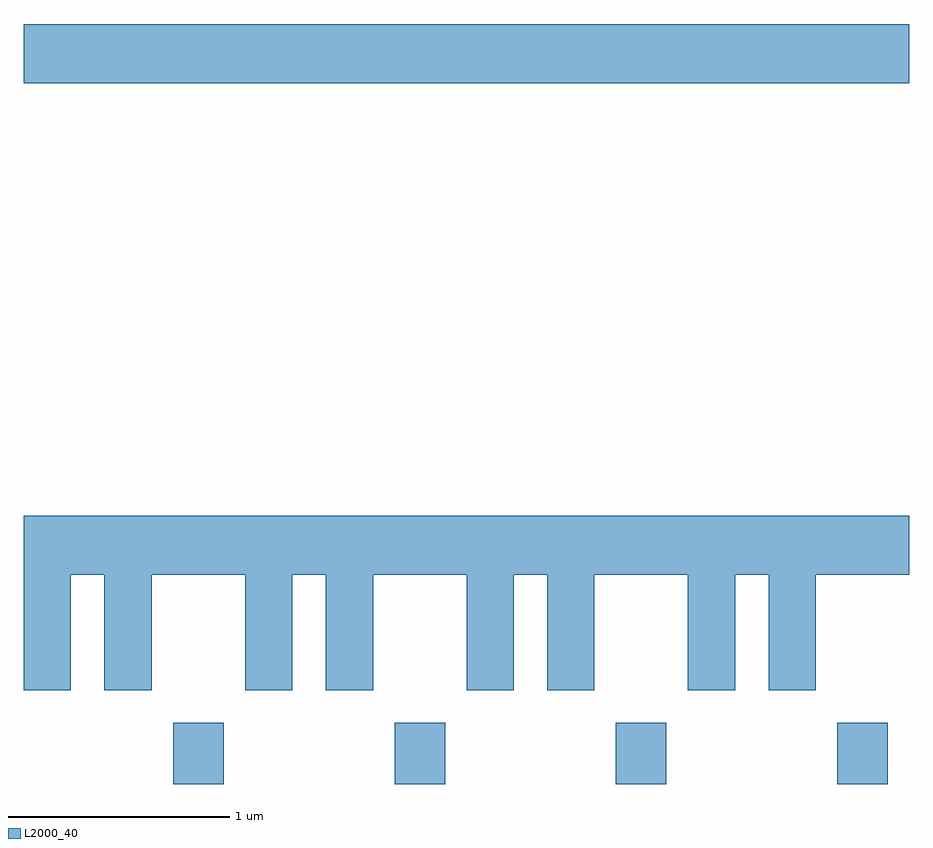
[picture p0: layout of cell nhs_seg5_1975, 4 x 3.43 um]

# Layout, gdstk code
import gdstk
lib = gdstk.Library(unit=1e-6, precision=1e-09)
def R(c, l, rs):  # rectangles x0, y0, x1, y1
    for r in rs: c.add(gdstk.rectangle(r[:2], r[2:], *l))
def A(c, l, x, y, w, h, nx, ny, dx, dy):  # array of equal rectangles
    R(c, l, [(x+i*dx, y+j*dy, x+i*dx+w, y+j*dy+h) for i in range(nx) for j in range(ny)])
def P(c, l, *ps):  # polygons
    for p in ps: c.add(gdstk.Polygon(p, *l))
L2000_40 = (2000, 40)

nhs_seg5_1975 = lib.new_cell('nhs_seg5_1975')
A(nhs_seg5_1975, L2000_40, 244.286, 1458.072, 0.228, 0.277, 4, 1, 1, 0)
R(nhs_seg5_1975, L2000_40, [(243.611,1461.236,247.611,1461.504)])
P(nhs_seg5_1975, L2000_40, [(243.824,1459.016),(243.976,1459.016),(243.976,1458.496),(244.189,1458.496),(244.189,1459.016),(244.611,1459.016),(244.611,1458.496),(244.824,1458.496),(244.824,1459.016),(244.976,1459.016),(244.976,1458.496),(245.189,1458.496),(245.189,1459.016),(245.611,1459.016),(245.611,1458.496),(245.824,1458.496),(245.824,1459.016),(245.976,1459.016),(245.976,1458.496),(246.189,1458.496),(246.189,1459.016),(246.611,1459.016),(246.611,1458.496),(246.824,1458.496),(246.824,1459.016),(246.976,1459.016),(246.976,1458.496),(247.189,1458.496),(247.189,1459.016),(247.611,1459.016),(247.611,1459.284),(243.611,1459.284),(243.611,1458.496),(243.824,1458.496)])

lib.write_gds('nhs_seg5_1975.gds')
